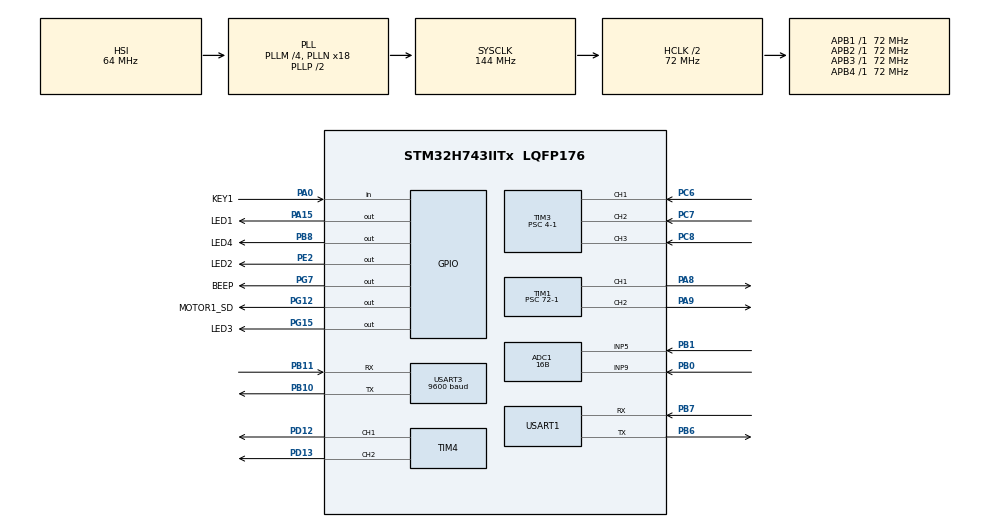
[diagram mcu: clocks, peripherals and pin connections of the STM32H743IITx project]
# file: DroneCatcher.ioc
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ADC1.Channel-0\#ChannelRegularConversion=ADC_CHANNEL_5
ADC1.Channel-1\#ChannelRegularConversion=ADC_CHANNEL_9
ADC1.ClockPrescaler=ADC_CLOCK_ASYNC_DIV12
ADC1.ContinuousConvMode=ENABLE
ADC1.ConversionDataManagement=ADC_CONVERSIONDATA_DMA_CIRCULAR
ADC1.EOCSelection=ADC_EOC_SINGLE_CONV
ADC1.EnableInjectedConversion=DISABLE
ADC1.NbrOfConversion=2
ADC1.NbrOfConversionFlag=1
ADC1.OffsetNumber-0\#ChannelRegularConversion=ADC_OFFSET_NONE
ADC1.OffsetNumber-1\#ChannelRegularConversion=ADC_OFFSET_NONE
ADC1.OffsetSignedSaturation-0\#ChannelRegularConversion=DISABLE
ADC1.OffsetSignedSaturation-1\#ChannelRegularConversion=DISABLE
ADC1.OversamplingMode=DISABLE
ADC1.Rank-0\#ChannelRegularConversion=1
ADC1.Rank-1\#ChannelRegularConversion=2
ADC1.Resolution=ADC_RESOLUTION_16B
ADC1.SamplingTime-0\#ChannelRegularConversion=ADC_SAMPLETIME_64CYCLES_5
ADC1.SamplingTime-1\#ChannelRegularConversion=ADC_SAMPLETIME_64CYCLES_5
ADC1.master=1
CRC.InputDataInversionMode=CRC_INPUTDATA_INVERSION_NONE
CRC.OutputDataInversionMode=CRC_OUTPUTDATA_INVERSION_DISABLE
Dma.ADC1.2.Direction=DMA_PERIPH_TO_MEMORY
Dma.ADC1.2.EventEnable=DISABLE
Dma.ADC1.2.FIFOMode=DMA_FIFOMODE_DISABLE
Dma.ADC1.2.Instance=DMA1_Stream2
Dma.ADC1.2.MemDataAlignment=DMA_MDATAALIGN_WORD
Dma.ADC1.2.MemInc=DMA_MINC_ENABLE
Dma.ADC1.2.Mode=DMA_CIRCULAR
Dma.ADC1.2.PeriphDataAlignment=DMA_PDATAALIGN_WORD
Dma.ADC1.2.PeriphInc=DMA_PINC_DISABLE
Dma.ADC1.2.Polarity=HAL_DMAMUX_REQ_GEN_RISING
Dma.ADC1.2.Priority=DMA_PRIORITY_LOW
Dma.ADC1.2.RequestNumber=1
Dma.ADC1.2.SignalID=NONE
Dma.ADC1.2.SyncEnable=DISABLE
Dma.ADC1.2.SyncPolarity=HAL_DMAMUX_SYNC_NO_EVENT
Dma.ADC1.2.SyncRequestNumber=1
Dma.ADC1.2.SyncSignalID=NONE
Dma.Request0=USART1_TX
Dma.Request1=USART1_RX
Dma.Request2=ADC1
Dma.USART1_RX.1.Direction=DMA_PERIPH_TO_MEMORY
Dma.USART1_RX.1.EventEnable=DISABLE
Dma.USART1_RX.1.FIFOMode=DMA_FIFOMODE_DISABLE
Dma.USART1_RX.1.Instance=DMA1_Stream1
Dma.USART1_RX.1.MemDataAlignment=DMA_MDATAALIGN_BYTE
Dma.USART1_RX.1.MemInc=DMA_MINC_ENABLE
Dma.USART1_RX.1.Mode=DMA_CIRCULAR
Dma.USART1_RX.1.PeriphDataAlignment=DMA_PDATAALIGN_BYTE
Dma.USART1_RX.1.PeriphInc=DMA_PINC_DISABLE
Dma.USART1_RX.1.Polarity=HAL_DMAMUX_REQ_GEN_RISING
Dma.USART1_RX.1.Priority=DMA_PRIORITY_LOW
Dma.USART1_RX.1.RequestNumber=1
Dma.USART1_RX.1.SignalID=NONE
Dma.USART1_RX.1.SyncEnable=DISABLE
Dma.USART1_RX.1.SyncPolarity=HAL_DMAMUX_SYNC_NO_EVENT
Dma.USART1_RX.1.SyncRequestNumber=1
Dma.USART1_RX.1.SyncSignalID=NONE
Dma.USART1_TX.0.Direction=DMA_MEMORY_TO_PERIPH
Dma.USART1_TX.0.EventEnable=DISABLE
Dma.USART1_TX.0.FIFOMode=DMA_FIFOMODE_DISABLE
Dma.USART1_TX.0.Instance=DMA1_Stream0
Dma.USART1_TX.0.MemDataAlignment=DMA_MDATAALIGN_BYTE
Dma.USART1_TX.0.MemInc=DMA_MINC_ENABLE
Dma.USART1_TX.0.Mode=DMA_NORMAL
Dma.USART1_TX.0.PeriphDataAlignment=DMA_PDATAALIGN_BYTE
Dma.USART1_TX.0.PeriphInc=DMA_PINC_DISABLE
Dma.USART1_TX.0.Polarity=HAL_DMAMUX_REQ_GEN_RISING
Dma.USART1_TX.0.Priority=DMA_PRIORITY_LOW
Dma.USART1_TX.0.RequestNumber=1
Dma.USART1_TX.0.SignalID=NONE
Dma.USART1_TX.0.SyncEnable=DISABLE
Dma.USART1_TX.0.SyncPolarity=HAL_DMAMUX_SYNC_NO_EVENT
Dma.USART1_TX.0.SyncRequestNumber=1
Dma.USART1_TX.0.SyncSignalID=NONE
FREERTOS.Tasks01=defaultTask,24,128,StartDefaultTask,Default,NULL,Dynamic,NULL,NULL;commTask,32,128,commTaskEntry,Default,NULL,Dynamic,NULL,NULL
Mcu.Family=STM32H7
Mcu.Name=STM32H743IITx
Mcu.Package=LQFP176
NVIC.DMA1_Stream0_IRQn=true\:5\:0\:false\:false\:true\:true\:false\:true
NVIC.DMA1_Stream1_IRQn=true\:5\:0\:false\:false\:true\:true\:false\:true
NVIC.DMA1_Stream2_IRQn=true\:5\:0\:false\:false\:true\:true\:false\:true
NVIC.PriorityGroup=NVIC_PRIORITYGROUP_4
NVIC.TIM17_IRQn=true\:5\:0\:true\:false\:true\:true\:true\:true
NVIC.TIM5_IRQn=true\:0\:0\:false\:false\:true\:false\:false\:true
NVIC.TimeBase=TIM5_IRQn
NVIC.TimeBaseIP=TIM5
NVIC.USART1_IRQn=true\:5\:0\:true\:false\:true\:true\:true\:true
NVIC.USART3_IRQn=true\:5\:0\:false\:false\:true\:true\:true\:true
PA0.GPIO_Label=KEY1
PA0.Signal=GPIO_Input
PA13\ (JTMS/SWDIO).Mode=Serial_Wire
PA13\ (JTMS/SWDIO).Signal=DEBUG_JTMS-SWDIO
PA14\ (JTCK/SWCLK).Mode=Serial_Wire
PA14\ (JTCK/SWCLK).Signal=DEBUG_JTCK-SWCLK
PA15\ (JTDI).GPIO_Label=LED1
PA15\ (JTDI).Signal=GPIO_Output
PA8.Signal=S_TIM1_CH1
PA9.Signal=S_TIM1_CH2
PB0.Signal=ADCx_INP9
PB1.Signal=ADCx_INP5
PB10.Mode=Asynchronous
PB10.Signal=USART3_TX
PB11.Mode=Asynchronous
PB11.Signal=USART3_RX
PB6.Mode=Asynchronous
PB6.Signal=USART1_TX
PB7.Mode=Asynchronous
PB7.Signal=USART1_RX
PB8.GPIO_Label=LED4
PB8.Signal=GPIO_Output
PC14-OSC32_IN\ (OSC32_IN).Mode=LSE-External-Oscillator
PC14-OSC32_IN\ (OSC32_IN).Signal=RCC_OSC32_IN
PC15-OSC32_OUT\ (OSC32_OUT).Mode=LSE-External-Oscillator
PC15-OSC32_OUT\ (OSC32_OUT).Signal=RCC_OSC32_OUT
PC6.Signal=S_TIM3_CH1
PC7.Signal=S_TIM3_CH2
PC8.Signal=S_TIM3_CH3
PD12.Signal=S_TIM4_CH1
PD13.Signal=S_TIM4_CH2
PE2.GPIO_Label=LED2
PE2.Signal=GPIO_Output
PG12.GPIO_Label=MOTOR1_SD
PG12.Signal=GPIO_Output
PG15.GPIO_Label=LED3
PG15.Signal=GPIO_Output
PG7.GPIO_Label=BEEP
PG7.Signal=GPIO_Output
PH0-OSC_IN\ (PH0).Mode=HSE-External-Oscillator
PH0-OSC_IN\ (PH0).Signal=RCC_OSC_IN
PH1-OSC_OUT\ (PH1).Mode=HSE-External-Oscillator
PH1-OSC_OUT\ (PH1).Signal=RCC_OSC_OUT
ProjectManager.HeapSize=0x200
ProjectManager.StackSize=0x400
ProjectManager.TargetToolchain=STM32CubeIDE
RCC.ADCCLockSelection=RCC_ADCCLKSOURCE_CLKP
RCC.ADCFreq_Value=64000000
RCC.APB1Freq_Value=72000000
RCC.APB2Freq_Value=72000000
RCC.APB3Freq_Value=72000000
RCC.APB4Freq_Value=72000000
RCC.CortexFreq_Value=72000000
RCC.D1CPRE=RCC_SYSCLK_DIV2
RCC.DIVM1=4
RCC.DIVM2=4
RCC.DIVN1=18
RCC.DIVN2=9
RCC.DIVP2=1
RCC.HCLKFreq_Value=72000000
RCC.PLL2FRACN=3072
RCC.PLL3FRACN=0
RCC.PLLFRACN=0
RCC.SYSCLKFreq_VALUE=144000000
RCC.SYSCLKSource=RCC_SYSCLKSOURCE_PLLCLK
RCC.USBFreq_Value=144000000
SH.ADCx_INP5.0=ADC1_INP5,IN5-Single-Ended
SH.ADCx_INP9.0=ADC1_INP9,IN9-Single-Ended
SH.S_TIM1_CH1.0=TIM1_CH1,PWM Generation1 CH1
SH.S_TIM1_CH2.0=TIM1_CH2,PWM Generation2 CH2
SH.S_TIM3_CH1.0=TIM3_CH1,Encoder_Interface
SH.S_TIM3_CH2.0=TIM3_CH2,Encoder_Interface
SH.S_TIM3_CH3.0=TIM3_CH3,Input_Capture3_from_TI3
SH.S_TIM4_CH1.0=TIM4_CH1,PWM Generation1 CH1
SH.S_TIM4_CH2.0=TIM4_CH2,PWM Generation2 CH2
TIM1.AutoReloadPreload=TIM_AUTORELOAD_PRELOAD_ENABLE
TIM1.Channel-PWM\ Generation1\ CH1=TIM_CHANNEL_1
TIM1.Channel-PWM\ Generation2\ CH2=TIM_CHANNEL_2
TIM1.Period=5-1
TIM1.Prescaler=72-1
TIM1.Pulse-PWM\ Generation1\ CH1=4
TIM1.Pulse-PWM\ Generation2\ CH2=4
TIM17.Period=36000-1
TIM17.Prescaler=2000-1
TIM3.Channel-Input_Capture3_from_TI3=TIM_CHANNEL_3
TIM3.EncoderMode=TIM_ENCODERMODE_TI12
TIM3.IC1Filter=10
TIM3.IC2Filter=10
TIM3.Prescaler=4-1
TIM4.Channel-PWM\ Generation1\ CH1=TIM_CHANNEL_1
TIM4.Channel-PWM\ Generation2\ CH2=TIM_CHANNEL_2
USART1.VirtualMode-Asynchronous=VM_ASYNC
USART3.BaudRate=9600
USART3.VirtualMode-Asynchronous=VM_ASYNC
VP_CRC_VS_CRC.Mode=CRC_Activate
VP_FREERTOS_VS_CMSIS_V2.Mode=CMSIS_V2
VP_RTC_VS_RTC_Activate.Mode=RTC_Enabled
VP_SYS_VS_tim5.Mode=TIM5
VP_TIM17_VS_ClockSourceINT.Mode=Enable_Timer
VP_TIM1_VS_ClockSourceINT.Mode=Internal
VP_TIM4_VS_ClockSourceINT.Mode=Internal
board=custom

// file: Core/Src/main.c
/* USER CODE BEGIN Header */
/**
 ******************************************************************************
 * @file           : main.c
 * @brief          : Main program body
 ******************************************************************************
 * @attention
 *
 * <h2><center>&copy; Copyright (c) 2021 STMicroelectronics.
 * All rights reserved.</center></h2>
 *
 * This software component is licensed by ST under BSD 3-Clause license,
 * the "License"; You may not use this file except in compliance with the
 * License. You may obtain a copy of the License at:
 *                        opensource.org/licenses/BSD-3-Clause
 *
 ******************************************************************************
 */
/* USER CODE END Header */
#include "main.h"
#include "cmsis_os.h"

/* USER CODE BEGIN Includes */
#include "stm32h7xx_hal_tim.h"
#include <string.h>
#include <stdio.h>
/* USER CODE END Includes */

ADC_HandleTypeDef hadc1;
DMA_HandleTypeDef hdma_adc1;

CRC_HandleTypeDef hcrc;

RTC_HandleTypeDef hrtc;

TIM_HandleTypeDef htim1;
TIM_HandleTypeDef htim3;
TIM_HandleTypeDef htim4;
TIM_HandleTypeDef htim17;

UART_HandleTypeDef huart1;
UART_HandleTypeDef huart3;
DMA_HandleTypeDef hdma_usart1_tx;
DMA_HandleTypeDef hdma_usart1_rx;

/* Definitions for defaultTask */
osThreadId_t defaultTaskHandle;
const osThreadAttr_t defaultTask_attributes = {
  .name = "defaultTask",
  .priority = (osPriority_t) osPriorityNormal,
  .stack_size = 128 * 4
};
/* Definitions for commTask */
osThreadId_t commTaskHandle;
const osThreadAttr_t commTask_attributes = {
  .name = "commTask",
  .priority = (osPriority_t) osPriorityAboveNormal,
  .stack_size = 128 * 4
};

void SystemClock_Config(void);
static void MX_GPIO_Init(void);
static void MX_DMA_Init(void);
static void MX_USART1_UART_Init(void);
static void MX_ADC1_Init(void);
static void MX_RTC_Init(void);
static void MX_TIM1_Init(void);
static void MX_TIM3_Init(void);
static void MX_TIM4_Init(void);
static void MX_TIM17_Init(void);
static void MX_CRC_Init(void);
static void MX_USART3_UART_Init(void);
void StartDefaultTask(void *argument);
void commTaskEntry(void *argument);

/* USER CODE BEGIN PFP */
typedef enum
{
	FSM_Stop=0,
	FSM_GetBack=1,
	FSM_ThrowOut=2,
}TFSMState;
TFSMState gFSMState=FSM_Stop;
//dir=1:GetBack,dir=0:ThrowOut.
void motor_ctl_with_timeout(TFSMState state)
{
	switch(state)
	{
	case FSM_Stop:
		//ShutDown: enable(1),disable(0).
		HAL_GPIO_WritePin(GPIOG, MOTOR1_SD_Pin, GPIO_PIN_RESET);
		//stop TIM17.
		HAL_TIM_Base_Stop_IT(&htim17);

		//set variable.
		gFSMState=FSM_Stop;
		break;
	case FSM_GetBack:
		//ShutDown: enable(1),disable(0).
		HAL_GPIO_WritePin(GPIOG, MOTOR1_SD_Pin, GPIO_PIN_RESET);
		//GetBack.
		//top arm driven with pwm.
		__HAL_TIM_SET_COMPARE(&htim1,TIM_CHANNEL_1,2);// CCR/ARR=2/5=40%.
		//bottom arm driven with 0,always on.
		__HAL_TIM_SET_COMPARE(&htim1,TIM_CHANNEL_2,0);// CCR/ARR=0/5=0%.
		//ShutDown: enable(1),disable(0).
		HAL_GPIO_WritePin(GPIOG, MOTOR1_SD_Pin, GPIO_PIN_SET);

		//start timer17 to timeout to stop pwm.
		HAL_TIM_Base_Start_IT(&htim17);

		//set variable.
		gFSMState=FSM_GetBack;
		break;
	case FSM_ThrowOut:
		//ShutDown: enable(1),disable(0).
		HAL_GPIO_WritePin(GPIOG, MOTOR1_SD_Pin, GPIO_PIN_RESET);
		//ThrowOut.
		__HAL_TIM_SET_COMPARE(&htim1,TIM_CHANNEL_1,0);// CCR/ARR=0/5=0%.
		__HAL_TIM_SET_COMPARE(&htim1,TIM_CHANNEL_2,2);// CCR/ARR=2/5=40%.
		//ShutDown: enable(1),disable(0).
		HAL_GPIO_WritePin(GPIOG, MOTOR1_SD_Pin, GPIO_PIN_SET);

		//start timer17 to timeout to stop pwm.
		HAL_TIM_Base_Start_IT(&htim17);

		//set variable.
		gFSMState=FSM_ThrowOut;
		break;
	}
}
//dir=1:GetBack,dir=0:ThrowOut.
void motor_ctl_always(TFSMState state)
{
	switch(state)
	{
	case FSM_Stop:
		//ShutDown: enable(1),disable(0).
		HAL_GPIO_WritePin(GPIOG, MOTOR1_SD_Pin, GPIO_PIN_RESET);
		//stop TIM17.
		HAL_TIM_Base_Stop_IT(&htim17);

		//set variable.
		gFSMState=FSM_Stop;
		break;
	case FSM_GetBack:
		//ShutDown: enable(1),disable(0).
		HAL_GPIO_WritePin(GPIOG, MOTOR1_SD_Pin, GPIO_PIN_RESET);
		//GetBack.
		//top arm driven with pwm.
		__HAL_TIM_SET_COMPARE(&htim1,TIM_CHANNEL_1,2);// CCR/ARR=2/5=40%.
		//bottom arm driven with 0,always on.
		__HAL_TIM_SET_COMPARE(&htim1,TIM_CHANNEL_2,0);// CCR/ARR=0/5=0%.
		//ShutDown: enable(1),disable(0).
		HAL_GPIO_WritePin(GPIOG, MOTOR1_SD_Pin, GPIO_PIN_SET);

		//set variable.
		gFSMState=FSM_GetBack;
		break;
	case FSM_ThrowOut:
		//ShutDown: enable(1),disable(0).
		HAL_GPIO_WritePin(GPIOG, MOTOR1_SD_Pin, GPIO_PIN_RESET);
		//ThrowOut.
		__HAL_TIM_SET_COMPARE(&htim1,TIM_CHANNEL_1,0);// CCR/ARR=0/5=0%.
		__HAL_TIM_SET_COMPARE(&htim1,TIM_CHANNEL_2,4);// CCR/ARR=4/5=80%.
		//ShutDown: enable(1),disable(0).
		HAL_GPIO_WritePin(GPIOG, MOTOR1_SD_Pin, GPIO_PIN_SET);

		//set variable.
		gFSMState=FSM_ThrowOut;
		break;
	}
}
/* USER CODE END PFP */

/* USER CODE BEGIN 0 */
uint8_t uartRxBuffer[64];
uint8_t uartRxLen=0;
uint8_t uartRxFinished=0;
//ADC1-CH5:current
//ADC1-CH9:voltage.
//channel_count=2,DMA buffer size=32.
#define CHANNEL_NUM	2
#define EACH_CHANNEL_SIZE	100
uint32_t adc1_buffer[CHANNEL_NUM*EACH_CHANNEL_SIZE];
//two running modes.
typedef enum{
	Mode_Manual=0,
	Mode_Auto=1,
}RunMode;
RunMode g_RunMode=Mode_Manual;
uint8_t uart3RxBuffer[9];
int32_t g_iPullingSensor=0;
/* USER CODE END 0 */

int main(void)
{

  /* MCU Configuration--------------------------------------------------------*/

  /* Reset of all peripherals, Initializes the Flash interface and the Systick. */
  HAL_Init();

  /* Configure the system clock */
  SystemClock_Config();

  /* Initialize all configured peripherals */
  MX_GPIO_Init();
  MX_DMA_Init();
  MX_USART1_UART_Init();
  MX_ADC1_Init();
  MX_RTC_Init();
  MX_TIM1_Init();
  MX_TIM3_Init();
  MX_TIM4_Init();
  MX_TIM17_Init();
  MX_CRC_Init();
  MX_USART3_UART_Init();
  /* USER CODE BEGIN 2 */
	HAL_UART_Receive_IT(&huart3,uart3RxBuffer,sizeof(uart3RxBuffer));
  /* USER CODE END 2 */

  /* Init scheduler */
  osKernelInitialize();

  /* Create the thread(s) */
  /* creation of defaultTask */
  defaultTaskHandle = osThreadNew(StartDefaultTask, NULL, &defaultTask_attributes);

  /* creation of commTask */
  commTaskHandle = osThreadNew(commTaskEntry, NULL, &commTask_attributes);

  /* Start scheduler */
  osKernelStart();

  /* We should never get here as control is now taken by the scheduler */
  /* Infinite loop */
	while (1)
	{

	}
}

void SystemClock_Config(void)
{
  RCC_OscInitTypeDef RCC_OscInitStruct = {0};
  RCC_ClkInitTypeDef RCC_ClkInitStruct = {0};
  RCC_PeriphCLKInitTypeDef PeriphClkInitStruct = {0};

  /** Supply configuration update enable
  */
  HAL_PWREx_ConfigSupply(PWR_LDO_SUPPLY);
  /** Configure the main internal regulator output voltage
  */
  __HAL_PWR_VOLTAGESCALING_CONFIG(PWR_REGULATOR_VOLTAGE_SCALE3);

  while(!__HAL_PWR_GET_FLAG(PWR_FLAG_VOSRDY)) {}
  /** Initializes the RCC Oscillators according to the specified parameters
  * in the RCC_OscInitTypeDef structure.
  */
  RCC_OscInitStruct.OscillatorType = RCC_OSCILLATORTYPE_HSI|RCC_OSCILLATORTYPE_LSI;
  RCC_OscInitStruct.HSIState = RCC_HSI_DIV1;
  RCC_OscInitStruct.HSICalibrationValue = RCC_HSICALIBRATION_DEFAULT;
  RCC_OscInitStruct.LSIState = RCC_LSI_ON;
  RCC_OscInitStruct.PLL.PLLState = RCC_PLL_ON;
  RCC_OscInitStruct.PLL.PLLSource = RCC_PLLSOURCE_HSI;
  RCC_OscInitStruct.PLL.PLLM = 4;
  RCC_OscInitStruct.PLL.PLLN = 18;
  RCC_OscInitStruct.PLL.PLLP = 2;
  RCC_OscInitStruct.PLL.PLLQ = 2;
  RCC_OscInitStruct.PLL.PLLR = 2;
  RCC_OscInitStruct.PLL.PLLRGE = RCC_PLL1VCIRANGE_3;
  RCC_OscInitStruct.PLL.PLLVCOSEL = RCC_PLL1VCOWIDE;
  RCC_OscInitStruct.PLL.PLLFRACN = 0;
  if (HAL_RCC_OscConfig(&RCC_OscInitStruct) != HAL_OK)
  {
    Error_Handler();
  }
  /** Initializes the CPU, AHB and APB buses clocks
  */
  RCC_ClkInitStruct.ClockType = RCC_CLOCKTYPE_HCLK|RCC_CLOCKTYPE_SYSCLK
                              |RCC_CLOCKTYPE_PCLK1|RCC_CLOCKTYPE_PCLK2
                              |RCC_CLOCKTYPE_D3PCLK1|RCC_CLOCKTYPE_D1PCLK1;
  RCC_ClkInitStruct.SYSCLKSource = RCC_SYSCLKSOURCE_PLLCLK;
  RCC_ClkInitStruct.SYSCLKDivider = RCC_SYSCLK_DIV2;
  RCC_ClkInitStruct.AHBCLKDivider = RCC_HCLK_DIV1;
  RCC_ClkInitStruct.APB3CLKDivider = RCC_APB3_DIV1;
  RCC_ClkInitStruct.APB1CLKDivider = RCC_APB1_DIV1;
  RCC_ClkInitStruct.APB2CLKDivider = RCC_APB2_DIV1;
  RCC_ClkInitStruct.APB4CLKDivider = RCC_APB4_DIV1;

  if (HAL_RCC_ClockConfig(&RCC_ClkInitStruct, FLASH_LATENCY_1) != HAL_OK)
  {
    Error_Handler();
  }
  PeriphClkInitStruct.PeriphClockSelection = RCC_PERIPHCLK_RTC|RCC_PERIPHCLK_USART3
                              |RCC_PERIPHCLK_USART1|RCC_PERIPHCLK_ADC
                              |RCC_PERIPHCLK_CKPER;
  PeriphClkInitStruct.CkperClockSelection = RCC_CLKPSOURCE_HSI;
  PeriphClkInitStruct.Usart234578ClockSelection = RCC_USART234578CLKSOURCE_D2PCLK1;
  PeriphClkInitStruct.Usart16ClockSelection = RCC_USART16CLKSOURCE_D2PCLK2;
  PeriphClkInitStruct.AdcClockSelection = RCC_ADCCLKSOURCE_CLKP;
  PeriphClkInitStruct.RTCClockSelection = RCC_RTCCLKSOURCE_LSI;
  if (HAL_RCCEx_PeriphCLKConfig(&PeriphClkInitStruct) != HAL_OK)
  {
    Error_Handler();
  }
}

static void MX_ADC1_Init(void)
{

  ADC_MultiModeTypeDef multimode = {0};
  ADC_ChannelConfTypeDef sConfig = {0};

  /** Common config
  */
  hadc1.Instance = ADC1;
  hadc1.Init.ClockPrescaler = ADC_CLOCK_ASYNC_DIV12;
  hadc1.Init.Resolution = ADC_RESOLUTION_16B;
  hadc1.Init.ScanConvMode = ADC_SCAN_ENABLE;
  hadc1.Init.EOCSelection = ADC_EOC_SINGLE_CONV;
  hadc1.Init.LowPowerAutoWait = DISABLE;
  hadc1.Init.ContinuousConvMode = ENABLE;
  hadc1.Init.NbrOfConversion = 2;
  hadc1.Init.DiscontinuousConvMode = DISABLE;
  hadc1.Init.ExternalTrigConv = ADC_SOFTWARE_START;
  hadc1.Init.ExternalTrigConvEdge = ADC_EXTERNALTRIGCONVEDGE_NONE;
  hadc1.Init.ConversionDataManagement = ADC_CONVERSIONDATA_DMA_CIRCULAR;
  hadc1.Init.Overrun = ADC_OVR_DATA_PRESERVED;
  hadc1.Init.LeftBitShift = ADC_LEFTBITSHIFT_NONE;
  hadc1.Init.OversamplingMode = DISABLE;
  if (HAL_ADC_Init(&hadc1) != HAL_OK)
  {
    Error_Handler();
  }
  /** Configure the ADC multi-mode
  */
  multimode.Mode = ADC_MODE_INDEPENDENT;
  if (HAL_ADCEx_MultiModeConfigChannel(&hadc1, &multimode) != HAL_OK)
  {
    Error_Handler();
  }
  /** Configure Regular Channel
  */
  sConfig.Channel = ADC_CHANNEL_5;
  sConfig.Rank = ADC_REGULAR_RANK_1;
  sConfig.SamplingTime = ADC_SAMPLETIME_64CYCLES_5;
  sConfig.SingleDiff = ADC_SINGLE_ENDED;
  sConfig.OffsetNumber = ADC_OFFSET_NONE;
  sConfig.Offset = 0;
  sConfig.OffsetSignedSaturation = DISABLE;
  if (HAL_ADC_ConfigChannel(&hadc1, &sConfig) != HAL_OK)
  {
    Error_Handler();
  }
  /** Configure Regular Channel
  */
  sConfig.Channel = ADC_CHANNEL_9;
  sConfig.Rank = ADC_REGULAR_RANK_2;
  if (HAL_ADC_ConfigChannel(&hadc1, &sConfig) != HAL_OK)
  {
    Error_Handler();
  }

}

static void MX_CRC_Init(void)
{

  hcrc.Instance = CRC;
  hcrc.Init.DefaultPolynomialUse = DEFAULT_POLYNOMIAL_ENABLE;
  hcrc.Init.DefaultInitValueUse = DEFAULT_INIT_VALUE_ENABLE;
  hcrc.Init.InputDataInversionMode = CRC_INPUTDATA_INVERSION_NONE;
  hcrc.Init.OutputDataInversionMode = CRC_OUTPUTDATA_INVERSION_DISABLE;
  hcrc.InputDataFormat = CRC_INPUTDATA_FORMAT_BYTES;
  if (HAL_CRC_Init(&hcrc) != HAL_OK)
  {
    Error_Handler();
  }

}

static void MX_RTC_Init(void)
{

  /** Initialize RTC Only
  */
  hrtc.Instance = RTC;
  hrtc.Init.HourFormat = RTC_HOURFORMAT_24;
  hrtc.Init.AsynchPrediv = 127;
  hrtc.Init.SynchPrediv = 255;
  hrtc.Init.OutPut = RTC_OUTPUT_DISABLE;
  hrtc.Init.OutPutPolarity = RTC_OUTPUT_POLARITY_HIGH;
  hrtc.Init.OutPutType = RTC_OUTPUT_TYPE_OPENDRAIN;
  hrtc.Init.OutPutRemap = RTC_OUTPUT_REMAP_NONE;
  if (HAL_RTC_Init(&hrtc) != HAL_OK)
  {
    Error_Handler();
  }

}

static void MX_TIM1_Init(void)
{

  TIM_ClockConfigTypeDef sClockSourceConfig = {0};
  TIM_MasterConfigTypeDef sMasterConfig = {0};
  TIM_OC_InitTypeDef sConfigOC = {0};
  TIM_BreakDeadTimeConfigTypeDef sBreakDeadTimeConfig = {0};

  htim1.Instance = TIM1;
  htim1.Init.Prescaler = 72-1;
  htim1.Init.CounterMode = TIM_COUNTERMODE_UP;
  htim1.Init.Period = 5-1;
  htim1.Init.ClockDivision = TIM_CLOCKDIVISION_DIV1;
  htim1.Init.RepetitionCounter = 0;
  htim1.Init.AutoReloadPreload = TIM_AUTORELOAD_PRELOAD_ENABLE;
  if (HAL_TIM_Base_Init(&htim1) != HAL_OK)
  {
    Error_Handler();
  }
  sClockSourceConfig.ClockSource = TIM_CLOCKSOURCE_INTERNAL;
  if (HAL_TIM_ConfigClockSource(&htim1, &sClockSourceConfig) != HAL_OK)
  {
    Error_Handler();
  }
  if (HAL_TIM_PWM_Init(&htim1) != HAL_OK)
  {
    Error_Handler();
  }
  sMasterConfig.MasterOutputTrigger = TIM_TRGO_RESET;
  sMasterConfig.MasterOutputTrigger2 = TIM_TRGO2_RESET;
  sMasterConfig.MasterSlaveMode = TIM_MASTERSLAVEMODE_DISABLE;
  if (HAL_TIMEx_MasterConfigSynchronization(&htim1, &sMasterConfig) != HAL_OK)
  {
    Error_Handler();
  }
  sConfigOC.OCMode = TIM_OCMODE_PWM1;
  sConfigOC.Pulse = 4;
  sConfigOC.OCPolarity = TIM_OCPOLARITY_HIGH;
  sConfigOC.OCNPolarity = TIM_OCNPOLARITY_HIGH;
  sConfigOC.OCFastMode = TIM_OCFAST_DISABLE;
  sConfigOC.OCIdleState = TIM_OCIDLESTATE_RESET;
  sConfigOC.OCNIdleState = TIM_OCNIDLESTATE_RESET;
  if (HAL_TIM_PWM_ConfigChannel(&htim1, &sConfigOC, TIM_CHANNEL_1) != HAL_OK)
  {
    Error_Handler();
  }
  if (HAL_TIM_PWM_ConfigChannel(&htim1, &sConfigOC, TIM_CHANNEL_2) != HAL_OK)
  {
    Error_Handler();
  }
  sBreakDeadTimeConfig.OffStateRunMode = TIM_OSSR_DISABLE;
  sBreakDeadTimeConfig.OffStateIDLEMode = TIM_OSSI_DISABLE;
  sBreakDeadTimeConfig.LockLevel = TIM_LOCKLEVEL_OFF;
  sBreakDeadTimeConfig.DeadTime = 0;
  sBreakDeadTimeConfig.BreakState = TIM_BREAK_DISABLE;
  sBreakDeadTimeConfig.BreakPolarity = TIM_BREAKPOLARITY_HIGH;
  sBreakDeadTimeConfig.BreakFilter = 0;
  sBreakDeadTimeConfig.Break2State = TIM_BREAK2_DISABLE;
  sBreakDeadTimeConfig.Break2Polarity = TIM_BREAK2POLARITY_HIGH;
  sBreakDeadTimeConfig.Break2Filter = 0;
  sBreakDeadTimeConfig.AutomaticOutput = TIM_AUTOMATICOUTPUT_DISABLE;
  if (HAL_TIMEx_ConfigBreakDeadTime(&htim1, &sBreakDeadTimeConfig) != HAL_OK)
  {
    Error_Handler();
  }
  HAL_TIM_MspPostInit(&htim1);

}

static void MX_TIM3_Init(void)
{

  TIM_Encoder_InitTypeDef sConfig = {0};
  TIM_MasterConfigTypeDef sMasterConfig = {0};
  TIM_IC_InitTypeDef sConfigIC = {0};

  htim3.Instance = TIM3;
  htim3.Init.Prescaler = 4-1;
  htim3.Init.CounterMode = TIM_COUNTERMODE_UP;
  htim3.Init.Period = 65535;
  htim3.Init.ClockDivision = TIM_CLOCKDIVISION_DIV1;
  htim3.Init.AutoReloadPreload = TIM_AUTORELOAD_PRELOAD_DISABLE;
  if (HAL_TIM_IC_Init(&htim3) != HAL_OK)
  {
    Error_Handler();
  }
  sConfig.EncoderMode = TIM_ENCODERMODE_TI12;
  sConfig.IC1Polarity = TIM_ICPOLARITY_RISING;
  sConfig.IC1Selection = TIM_ICSELECTION_DIRECTTI;
  sConfig.IC1Prescaler = TIM_ICPSC_DIV1;
  sConfig.IC1Filter = 10;
  sConfig.IC2Polarity = TIM_ICPOLARITY_RISING;
  sConfig.IC2Selection = TIM_ICSELECTION_DIRECTTI;
  sConfig.IC2Prescaler = TIM_ICPSC_DIV1;
  sConfig.IC2Filter = 10;
  if (HAL_TIM_Encoder_Init(&htim3, &sConfig) != HAL_OK)
  {
    Error_Handler();
  }
  sMasterConfig.MasterOutputTrigger = TIM_TRGO_RESET;
  sMasterConfig.MasterSlaveMode = TIM_MASTERSLAVEMODE_DISABLE;
  if (HAL_TIMEx_MasterConfigSynchronization(&htim3, &sMasterConfig) != HAL_OK)
  {
    Error_Handler();
  }
  sConfigIC.ICPolarity = TIM_INPUTCHANNELPOLARITY_RISING;
  sConfigIC.ICSelection = TIM_ICSELECTION_DIRECTTI;
  sConfigIC.ICPrescaler = TIM_ICPSC_DIV1;
  sConfigIC.ICFilter = 0;
  if (HAL_TIM_IC_ConfigChannel(&htim3, &sConfigIC, TIM_CHANNEL_3) != HAL_OK)
  {
    Error_Handler();
  }

}

static void MX_TIM4_Init(void)
{

  TIM_ClockConfigTypeDef sClockSourceConfig = {0};
  TIM_MasterConfigTypeDef sMasterConfig = {0};
  TIM_OC_InitTypeDef sConfigOC = {0};

  htim4.Instance = TIM4;
  htim4.Init.Prescaler = 0;
  htim4.Init.CounterMode = TIM_COUNTERMODE_UP;
  htim4.Init.Period = 65535;
  htim4.Init.ClockDivision = TIM_CLOCKDIVISION_DIV1;
  htim4.Init.AutoReloadPreload = TIM_AUTORELOAD_PRELOAD_DISABLE;
  if (HAL_TIM_Base_Init(&htim4) != HAL_OK)
  {
    Error_Handler();
  }
  sClockSourceConfig.ClockSource = TIM_CLOCKSOURCE_INTERNAL;
  if (HAL_TIM_ConfigClockSource(&htim4, &sClockSourceConfig) != HAL_OK)
  {
    Error_Handler();
  }
  if (HAL_TIM_PWM_Init(&htim4) != HAL_OK)
  {
    Error_Handler();
  }
  sMasterConfig.MasterOutputTrigger = TIM_TRGO_RESET;
  sMasterConfig.MasterSlaveMode = TIM_MASTERSLAVEMODE_DISABLE;
  if (HAL_TIMEx_MasterConfigSynchronization(&htim4, &sMasterConfig) != HAL_OK)
  {
    Error_Handler();
  }
  sConfigOC.OCMode = TIM_OCMODE_PWM1;
  sConfigOC.Pulse = 0;
  sConfigOC.OCPolarity = TIM_OCPOLARITY_HIGH;
  sConfigOC.OCFastMode = TIM_OCFAST_DISABLE;
  if (HAL_TIM_PWM_ConfigChannel(&htim4, &sConfigOC, TIM_CHANNEL_1) != HAL_OK)
  {
    Error_Handler();
  }
  if (HAL_TIM_PWM_ConfigChannel(&htim4, &sConfigOC, TIM_CHANNEL_2) != HAL_OK)
  {
    Error_Handler();
  }
  HAL_TIM_MspPostInit(&htim4);

}

static void MX_TIM17_Init(void)
{

  htim17.Instance = TIM17;
  htim17.Init.Prescaler = 2000-1;
  htim17.Init.CounterMode = TIM_COUNTERMODE_UP;
  htim17.Init.Period = 36000-1;
  htim17.Init.ClockDivision = TIM_CLOCKDIVISION_DIV1;
  htim17.Init.RepetitionCounter = 0;
  htim17.Init.AutoReloadPreload = TIM_AUTORELOAD_PRELOAD_DISABLE;
  if (HAL_TIM_Base_Init(&htim17) != HAL_OK)
  {
    Error_Handler();
  }

}

static void MX_USART1_UART_Init(void)
{

  huart1.Instance = USART1;
  huart1.Init.BaudRate = 115200;
  huart1.Init.WordLength = UART_WORDLENGTH_8B;
  huart1.Init.StopBits = UART_STOPBITS_1;
  huart1.Init.Parity = UART_PARITY_NONE;
  huart1.Init.Mode = UART_MODE_TX_RX;
  huart1.Init.HwFlowCtl = UART_HWCONTROL_NONE;
  huart1.Init.OverSampling = UART_OVERSAMPLING_16;
  huart1.Init.OneBitSampling = UART_ONE_BIT_SAMPLE_DISABLE;
  huart1.Init.ClockPrescaler = UART_PRESCALER_DIV1;
  huart1.AdvancedInit.AdvFeatureInit = UART_ADVFEATURE_NO_INIT;
  if (HAL_UART_Init(&huart1) != HAL_OK)
  {
    Error_Handler();
  }
  if (HAL_UARTEx_SetTxFifoThreshold(&huart1, UART_TXFIFO_THRESHOLD_1_8) != HAL_OK)
  {
    Error_Handler();
  }
  if (HAL_UARTEx_SetRxFifoThreshold(&huart1, UART_RXFIFO_THRESHOLD_1_8) != HAL_OK)
  {
    Error_Handler();
  }
  if (HAL_UARTEx_DisableFifoMode(&huart1) != HAL_OK)
  {
    Error_Handler();
  }
  /* USER CODE BEGIN USART1_Init 2 */
	__HAL_UART_ENABLE_IT(&huart1,UART_IT_IDLE);
	HAL_UART_Receive_DMA(&huart1,uartRxBuffer,64);
  /* USER CODE END USART1_Init 2 */

}

static void MX_USART3_UART_Init(void)
{

  huart3.Instance = USART3;
  huart3.Init.BaudRate = 9600;
  huart3.Init.WordLength = UART_WORDLENGTH_8B;
  huart3.Init.StopBits = UART_STOPBITS_1;
  huart3.Init.Parity = UART_PARITY_NONE;
  huart3.Init.Mode = UART_MODE_TX_RX;
  huart3.Init.HwFlowCtl = UART_HWCONTROL_NONE;
  huart3.Init.OverSampling = UART_OVERSAMPLING_16;
  huart3.Init.OneBitSampling = UART_ONE_BIT_SAMPLE_DISABLE;
  huart3.Init.ClockPrescaler = UART_PRESCALER_DIV1;
  huart3.AdvancedInit.AdvFeatureInit = UART_ADVFEATURE_NO_INIT;
  if (HAL_UART_Init(&huart3) != HAL_OK)
  {
    Error_Handler();
  }
  if (HAL_UARTEx_SetTxFifoThreshold(&huart3, UART_TXFIFO_THRESHOLD_1_8) != HAL_OK)
  {
    Error_Handler();
  }
  if (HAL_UARTEx_SetRxFifoThreshold(&huart3, UART_RXFIFO_THRESHOLD_1_8) != HAL_OK)
  {
    Error_Handler();
  }
  if (HAL_UARTEx_DisableFifoMode(&huart3) != HAL_OK)
  {
    Error_Handler();
  }

}

static void MX_DMA_Init(void)
{

  /* DMA controller clock enable */
  __HAL_RCC_DMA1_CLK_ENABLE();

  /* DMA interrupt init */
  /* DMA1_Stream0_IRQn interrupt configuration */
  HAL_NVIC_SetPriority(DMA1_Stream0_IRQn, 5, 0);
  HAL_NVIC_EnableIRQ(DMA1_Stream0_IRQn);
  /* DMA1_Stream1_IRQn interrupt configuration */
  HAL_NVIC_SetPriority(DMA1_Stream1_IRQn, 5, 0);
  HAL_NVIC_EnableIRQ(DMA1_Stream1_IRQn);
  /* DMA1_Stream2_IRQn interrupt configuration */
  HAL_NVIC_SetPriority(DMA1_Stream2_IRQn, 5, 0);
  HAL_NVIC_EnableIRQ(DMA1_Stream2_IRQn);

}

static void MX_GPIO_Init(void)
{
  GPIO_InitTypeDef GPIO_InitStruct = {0};

  /* GPIO Ports Clock Enable */
  __HAL_RCC_GPIOE_CLK_ENABLE();
  __HAL_RCC_GPIOC_CLK_ENABLE();
  __HAL_RCC_GPIOH_CLK_ENABLE();
  __HAL_RCC_GPIOA_CLK_ENABLE();
  __HAL_RCC_GPIOB_CLK_ENABLE();
  __HAL_RCC_GPIOD_CLK_ENABLE();
  __HAL_RCC_GPIOG_CLK_ENABLE();

  /*Configure GPIO pin Output Level */
  HAL_GPIO_WritePin(LED2_GPIO_Port, LED2_Pin, GPIO_PIN_RESET);

  /*Configure GPIO pin Output Level */
  HAL_GPIO_WritePin(GPIOG, BEEP_Pin|MOTOR1_SD_Pin|LED3_Pin, GPIO_PIN_RESET);

  /*Configure GPIO pin Output Level */
  HAL_GPIO_WritePin(LED1_GPIO_Port, LED1_Pin, GPIO_PIN_RESET);

  /*Configure GPIO pin Output Level */
  HAL_GPIO_WritePin(LED4_GPIO_Port, LED4_Pin, GPIO_PIN_RESET);

  /*Configure GPIO pin : LED2_Pin */
  GPIO_InitStruct.Pin = LED2_Pin;
  GPIO_InitStruct.Mode = GPIO_MODE_OUTPUT_PP;
  GPIO_InitStruct.Pull = GPIO_NOPULL;
  GPIO_InitStruct.Speed = GPIO_SPEED_FREQ_LOW;
  HAL_GPIO_Init(LED2_GPIO_Port, &GPIO_InitStruct);

  /*Configure GPIO pin : KEY1_Pin */
  GPIO_InitStruct.Pin = KEY1_Pin;
  GPIO_InitStruct.Mode = GPIO_MODE_INPUT;
  GPIO_InitStruct.Pull = GPIO_NOPULL;
  HAL_GPIO_Init(KEY1_GPIO_Port, &GPIO_InitStruct);

  /*Configure GPIO pins : BEEP_Pin MOTOR1_SD_Pin LED3_Pin */
  GPIO_InitStruct.Pin = BEEP_Pin|MOTOR1_SD_Pin|LED3_Pin;
  GPIO_InitStruct.Mode = GPIO_MODE_OUTPUT_PP;
  GPIO_InitStruct.Pull = GPIO_NOPULL;
  GPIO_InitStruct.Speed = GPIO_SPEED_FREQ_LOW;
  HAL_GPIO_Init(GPIOG, &GPIO_InitStruct);

  /*Configure GPIO pin : LED1_Pin */
  GPIO_InitStruct.Pin = LED1_Pin;
  GPIO_InitStruct.Mode = GPIO_MODE_OUTPUT_PP;
  GPIO_InitStruct.Pull = GPIO_NOPULL;
  GPIO_InitStruct.Speed = GPIO_SPEED_FREQ_LOW;
  HAL_GPIO_Init(LED1_GPIO_Port, &GPIO_InitStruct);

  /*Configure GPIO pin : LED4_Pin */
  GPIO_InitStruct.Pin = LED4_Pin;
  GPIO_InitStruct.Mode = GPIO_MODE_OUTPUT_PP;
  GPIO_InitStruct.Pull = GPIO_NOPULL;
  GPIO_InitStruct.Speed = GPIO_SPEED_FREQ_LOW;
  HAL_GPIO_Init(LED4_GPIO_Port, &GPIO_InitStruct);

}

/* USER CODE BEGIN 4 */
void uartCmdParse(uint8_t *cmd,uint8_t cmdLen)
{
	//return directly to verify if received successfully.
	//HAL_UART_Transmit(&huart1,cmd,cmdLen,200);

	//Sync1 Sync2  Command   DataLen      Data           CRC32
	//5A     A5      01        04      XX XX XX XX     XX XX XX XX
	//Command:01,manual motor rotate control.TIM17 timeout stop.
	//Data:00 00 00 01,manual move clockwise.
	//Data:00 00 00 02,manual move anti-clockwise.

	//Command:02,auto motor rotate control.No stop!
	//Data:00 00 00 01,auto move clockwise.
	//Data:00 00 00 02,auto move anti-clockwise.
	if(cmdLen<12)
	{
		return;
	}else if(cmd[0]!=0x5A || cmd[1]!=0xA5)
	{
		return;
	}
	switch(cmd[2])
	{
	case 0x00://stop motor immediately.
		if(cmd[3]==0x04 && cmd[4]==0x00 && cmd[5]==0x00 && cmd[6]==0x00 &&cmd[7]==0x00)
		{
			//5a a5 00 04 00 00 00 00 00 00 00 00
			motor_ctl_with_timeout(FSM_Stop);
		}
		break;
	case 0x01:
		if(cmd[3]==0x04 && cmd[4]==0x00 && cmd[5]==0x00 && cmd[6]==0x00 &&cmd[7]==0x01)
		{//GetBack with timeout to stop.
			//5a a5 01 04 00 00 00 01 00 00 00 00
			motor_ctl_with_timeout(FSM_GetBack);
		}else if(cmd[3]==0x04 && cmd[4]==0x00 && cmd[5]==0x00 && cmd[6]==0x00 &&cmd[7]==0x02)
		{//ThrowOut with timeout to stop.
			//5a a5 01 04 00 00 00 02 00 00 00 00
			motor_ctl_with_timeout(FSM_ThrowOut);
		}
	case 0x02:
		if(cmd[3]==0x04 && cmd[4]==0x00 && cmd[5]==0x00 && cmd[6]==0x00 && cmd[7]==0x01)
		{//GetBack always.
			//5a a5 02 04 00 00 00 01 00 00 00 00
			motor_ctl_always(FSM_GetBack);
		}else if(cmd[3]==0x04 && cmd[4]==0x00 && cmd[5]==0x00 && cmd[6]==0x00 && cmd[7]==0x02)
		{//ThrowOut always.
			//5a a5 02 04 00 00 00 02 00 00 00 00
			motor_ctl_always(FSM_ThrowOut);
		}
		break;
	default:
		break;
	}
}
///<summary>
/// 转换成CRC�?
//modbus CRC16
int32_t CRC16Calc(uint8_t* dataBuff,int32_t dataLen)
{
	int32_t CRCResult=0xFFFF;
	if(dataLen<2)
	{
		return -1;
	}
	for(int32_t i=0;i<dataLen;i++)
	{
		CRCResult=CRCResult^dataBuff[i];
		for(int32_t j=0;j<8;j++)
		{
			if((CRCResult & 1) == 1)
			{
				CRCResult = (CRCResult >> 1) ^ 0xA001;
			}
			else {
				CRCResult >>= 1;
			}
		}
	}
	return CRCResult;
}

void HAL_UART_RxCpltCallback(UART_HandleTypeDef *huart)
{
	if(huart->Instance==USART3)
	{
		//01 03 04 00 00 00 00 FA 33
		if(uart3RxBuffer[0]==0x01 && uart3RxBuffer[1]==0x03 && uart3RxBuffer[2]==0x04)
		{
			char buffer[64];
			int32_t iCalcCrc16=CRC16Calc(uart3RxBuffer,7);
			int32_t iRecvCrc16=uart3RxBuffer[8]<<8 | uart3RxBuffer[7]<<0;
			if(iCalcCrc16==iRecvCrc16)
			{
				g_iPullingSensor=uart3RxBuffer[3]<<24 | uart3RxBuffer[4]<<16 | uart3RxBuffer[5]<<8 | uart3RxBuffer[6]<<0;
				sprintf(buffer,"CRC16 Okay:%d\r\n",g_iPullingSensor);
				HAL_UART_Transmit(&huart1,(uint8_t*)buffer,strlen(buffer),1000);
			}else{
				g_iPullingSensor=-1;
				sprintf(buffer,"CRC16 Err,%x!=%x\r\n",(uint32_t)iRecvCrc16,(uint32_t)iCalcCrc16);
				HAL_UART_Transmit(&huart1,(uint8_t*)buffer,strlen(buffer),1000);
			}
		}

	}
}
/* USER CODE END 4 */

void StartDefaultTask(void *argument)
{
  /* USER CODE BEGIN 5 */
	/* Infinite loop */
	uint32_t iCounter=0;
	uint8_t iBeepFlag=0;
	for(;;)
	{

		HAL_GPIO_WritePin(LED1_GPIO_Port, LED1_Pin, GPIO_PIN_RESET);
		osDelay(200);

		//request to pulling sensor.
		uint8_t cmdRequest[]={0x01,0x03,0x00,0x00,0x00,0x02,0xC4,0x0B};
		HAL_UART_Transmit(&huart3,cmdRequest,sizeof(cmdRequest),1000);

		//////////////////////////////////////////////////
		//use motor current to determine when to stop motor.
#if 1
		//ADC Voltage=Power Voltage/37+1.24
		//16bit ADC, 2^16=65536.
		//ADC Voltage=ADCValue/65536*3.3
		//ADC output is about 25600 while motor isnot running.
		//so here subtract 25600.

		char txBuffer[64];
		uint16_t iEncoder=__HAL_TIM_GET_COUNTER(&htim3);
		//current0,voltage0,current1,voltage1, ... ...
		//do average value filter.
		int iCurMax=0,iCurMin=0x7fffffff,iCurTotal=0,iCurAvg;
		for(int i=0;i<100;i++)
		{
			if((int)adc1_buffer[i*2]>iCurMax)
			{
				iCurMax=(int)adc1_buffer[i*2];
			}
			if((int)adc1_buffer[i*2]<iCurMin)
			{
				iCurMin=(int)adc1_buffer[i*2];
			}
			iCurTotal+=(int)adc1_buffer[i*2];
			//sprintf(txBuffer,"%d-I:%d,E:%d\r\n",i*2,(int)adc1_buffer[i*2],iEncoder);
			//HAL_UART_Transmit(&huart1,(uint8_t*)txBuffer,strlen(txBuffer),200);
		}
		iCurAvg=(iCurTotal-iCurMax-iCurMin)/(100-2);
		//sprintf(txBuffer,"I:%dMax,%dMin,%dAvg,E:%d\r\n",iCurMax,iCurMin,iCurAvg,iEncoder);
		//HAL_UART_Transmit(&huart1,(uint8_t*)txBuffer,strlen(txBuffer),200);

		int real_cur=(iCurAvg-25600)>0?(iCurAvg-25600):0;
		//sprintf(txBuffer,"%dV,%dA,%d\r\n",(int)adc1_buffer[1],real_cur,iEncoder);
		//HAL_UART_Transmit(&huart1,(uint8_t*)txBuffer,strlen(txBuffer),200);
#if 0
		if(gRotateDir==Dir_GetBack && real_cur>350)
		{
			//stop DMA before reverse rotate to avoid big start current.
			HAL_ADC_Stop_DMA(&hadc1);
			motor_on_always(Dir_ThrowOut);
			osDelay(5000);
			//start DMA again.
			motor_on_always(Dir_GetBack);
			osDelay(500);//delay to skip reverse big current.
			memset(adc1_buffer,0,CHANNEL_NUM*EACH_CHANNEL_SIZE*sizeof(uint32_t));
			HAL_ADC_Start_DMA(&hadc1, (uint32_t *)adc1_buffer, CHANNEL_NUM*EACH_CHANNEL_SIZE);
		}
#endif
#endif

		///////////////////////////////////////
		//use Pulling Sensor value to determine when to ThrowOut while GetBack.
		switch(gFSMState)
		{
		case FSM_Stop:
			if(iBeepFlag)
			{//use beep to indicate stop.
				HAL_GPIO_WritePin(GPIOG, BEEP_Pin, GPIO_PIN_SET);
				osDelay(500);
				HAL_GPIO_WritePin(GPIOG, BEEP_Pin, GPIO_PIN_RESET);
				iBeepFlag=0;
			}
			//V:voltage,A:current,E:encoder,T:pulling sensor.
			sprintf(txBuffer,"Stop:%dV,%dA,%dE,%dT\r\n",(int)adc1_buffer[1],real_cur,iEncoder,g_iPullingSensor);
			HAL_UART_Transmit(&huart1,(uint8_t*)txBuffer,strlen(txBuffer),1000);
			break;
		case FSM_GetBack:
			//V:voltage,A:current,E:encoder,T:pulling sensor.
			sprintf(txBuffer,"GetBack:%dV,%dA,%dE,%dT\r\n",(int)adc1_buffer[1],real_cur,iEncoder,g_iPullingSensor);
			HAL_UART_Transmit(&huart1,(uint8_t*)txBuffer,strlen(txBuffer),1000);
			if(real_cur>350)
			{
				//locked-rotor motor current (over current):GetBack done,reach boundary,stop motor.
				motor_ctl_always(FSM_Stop);
				iBeepFlag=1;
			}else if(g_iPullingSensor>400)
			{
				motor_ctl_always(FSM_ThrowOut);
				iCounter=0;
			}
			break;
		case FSM_ThrowOut:
			//V:voltage,A:current,E:encoder,T:pulling sensor.
			sprintf(txBuffer,"ThrowOut:%dV,%dA,%dE,%dT\r\n",(int)adc1_buffer[1],real_cur,iEncoder,g_iPullingSensor);
			HAL_UART_Transmit(&huart1,(uint8_t*)txBuffer,strlen(txBuffer),1000);
			if(iCounter++>10 && g_iPullingSensor<400)
			{
				motor_ctl_always(FSM_GetBack);
			}
			break;
		}

		HAL_GPIO_WritePin(LED1_GPIO_Port, LED1_Pin, GPIO_PIN_SET);
		osDelay(200);
	}
  /* USER CODE END 5 */
}

void commTaskEntry(void *argument)
{
  /* USER CODE BEGIN commTaskEntry */
	//start encoder.
	HAL_TIM_Encoder_Start(&htim3,TIM_CHANNEL_1);
	HAL_TIM_Encoder_Start(&htim3,TIM_CHANNEL_2);
	//start PWM.
	HAL_TIM_PWM_Start(&htim1,TIM_CHANNEL_1);
	HAL_TIM_PWM_Start(&htim1,TIM_CHANNEL_2);
	//start ADC.
	HAL_ADC_Start_DMA(&hadc1, (uint32_t *)adc1_buffer, CHANNEL_NUM*EACH_CHANNEL_SIZE);
	HAL_Delay(1000);
	//	while(1)
	//	{
	//		//ADC Voltage=Power Voltage/37+1.24
	//		//16bit ADC, 2^16=65536.
	//		//ADC Voltage=ADCValue/65536*3.3
	//		char txBuffer[64];
	//		sprintf(txBuffer,"%dV,%dA\r\n",(int)adc1_buffer[1],(int)adc1_buffer[2]);
	//		HAL_UART_Transmit(&huart1,txBuffer,strlen(txBuffer),200);
	//		osDelay(1000);
	//	}
	/* Infinite loop */
	for(;;)
	{
		uint16_t iEncoder;
		uint8_t iBuffer[64];
		uint32_t iCrc32;
		osDelay(10);
		if(uartRxFinished)
		{
			HAL_GPIO_WritePin(LED2_GPIO_Port, LED2_Pin, GPIO_PIN_RESET);
			//parse received command.
			uartCmdParse(uartRxBuffer,uartRxLen);
			//reset rx buffer.
			memset(uartRxBuffer,0,sizeof(uartRxBuffer));
			//reset flag.
			uartRxLen=0;
			uartRxFinished=0;
			HAL_GPIO_WritePin(LED2_GPIO_Port, LED2_Pin, GPIO_PIN_SET);
		}
		HAL_UART_Receive_DMA(&huart1,uartRxBuffer,64);

		//read encoder value and tx out.
		//iEncoder=__HAL_TIM_GET_COUNTER(&htim3);
		//sprintf((char*)iBuffer,"%d\r\n",iEncoder);
		//HAL_UART_Transmit(&huart1,iBuffer,strlen((char*)iBuffer),200);
		//		iBuffer[0]=0x5a;
		//		iBuffer[1]=0xa5;
		//		iBuffer[2]=0x01;
		//		iBuffer[3]=0x02;
		//		iBuffer[4]=0x03;
		//		iBuffer[5]=0x04;
		//		iBuffer[6]=0x05;
		//		iBuffer[7]=0x06;
		//		iCrc32=HAL_CRC_Calculate(&hcrc,(uint32_t*)iBuffer,2);
		//		sprintf((char*)iBuffer,"crc32=%x\r\n",(unsigned int)iCrc32);
		//		HAL_UART_Transmit(&huart1,iBuffer,strlen((char*)iBuffer),200);
	}
  /* USER CODE END commTaskEntry */
}

 /**
  * @brief  Period elapsed callback in non blocking mode
  * @note   This function is called  when TIM5 interrupt took place, inside
  * HAL_TIM_IRQHandler(). It makes a direct call to HAL_IncTick() to increment
  * a global variable "uwTick" used as application time base.
  * @param  htim : TIM handle
  * @retval None
  */
void HAL_TIM_PeriodElapsedCallback(TIM_HandleTypeDef *htim)
{
  if (htim->Instance == TIM5) {
    HAL_IncTick();
  }
  /* USER CODE BEGIN Callback 1 */
	else if(htim->Instance== TIM17)
	{
		//HTIM17
		//72MHz/(2000-1+1)=36000Hz
		//36000Hz/(18000-1+1)=2Hz
		//AutoReloadPreloadDisable
		motor_ctl_with_timeout(FSM_Stop);
	}
  /* USER CODE END Callback 1 */
}

void Error_Handler(void)
{
	__disable_irq();
	while (1)
	{
	}
}

/************************ (C) COPYRIGHT STMicroelectronics *****END OF FILE****/
